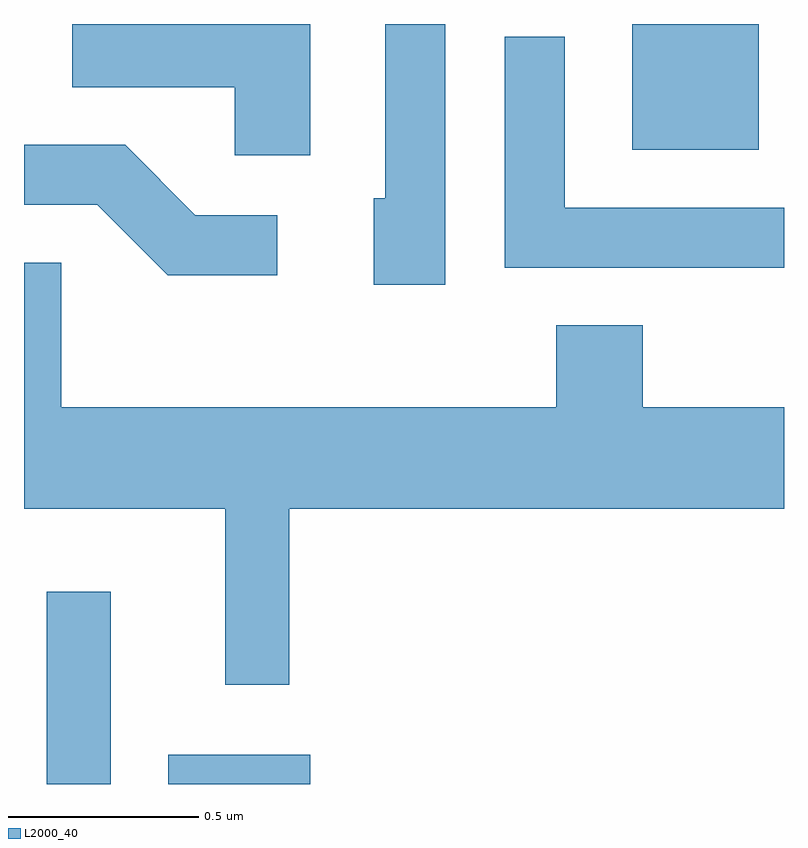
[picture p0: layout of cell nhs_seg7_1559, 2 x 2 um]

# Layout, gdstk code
import gdstk
lib = gdstk.Library(unit=1e-6, precision=1e-09)
def R(c, l, rs):  # rectangles x0, y0, x1, y1
    for r in rs: c.add(gdstk.rectangle(r[:2], r[2:], *l))
def P(c, l, *ps):  # polygons
    for p in ps: c.add(gdstk.Polygon(p, *l))
L2000_40 = (2000, 40)

nhs_seg7_1559 = lib.new_cell('nhs_seg7_1559')
R(nhs_seg7_1559, L2000_40, [(196.671,1720.252,196.839,1720.758), (196.991,1720.252,197.364,1720.329), (198.211,1721.921,198.544,1722.252)])
P(nhs_seg7_1559, L2000_40, [(197.364,1722.252),(196.738,1722.252),(196.738,1722.086),(197.166,1722.086),(197.166,1721.906),(197.364,1721.906)],
  [(197.719,1722.252),(197.561,1722.252),(197.561,1721.794),(197.531,1721.794),(197.531,1721.566),(197.719,1721.566)],
  [(198.611,1721.769),(198.034,1721.769),(198.034,1722.218),(197.876,1722.218),(197.876,1721.611),(198.611,1721.611)],
  [(197.278,1721.749),(197.062,1721.749),(196.877,1721.934),(196.611,1721.934),(196.611,1721.776),(196.804,1721.776),(196.989,1721.591),(197.278,1721.591)],
  [(197.309,1720.976),(198.611,1720.976),(198.611,1721.244),(198.239,1721.244),(198.239,1721.459),(198.011,1721.459),(198.011,1721.244),(196.709,1721.244),(196.709,1721.624),(196.611,1721.624),(196.611,1720.976),(197.141,1720.976),(197.141,1720.513),(197.309,1720.513)])

lib.write_gds('nhs_seg7_1559.gds')
